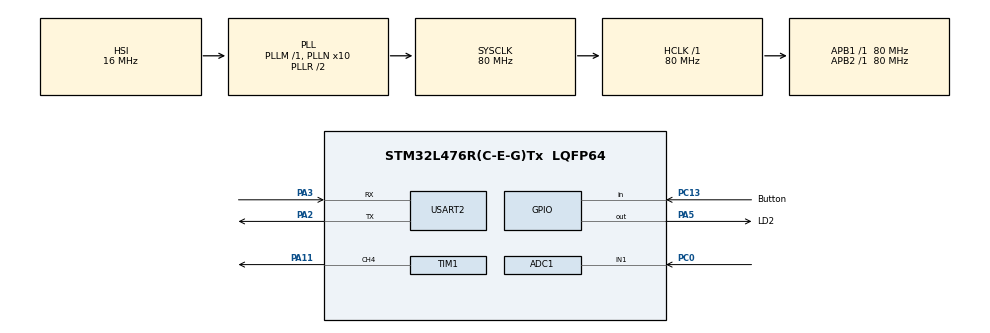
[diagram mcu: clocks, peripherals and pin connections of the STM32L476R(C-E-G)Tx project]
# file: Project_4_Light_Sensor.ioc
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ADC1.Channel-1\#ChannelRegularConversion=ADC_CHANNEL_1
ADC1.ContinuousConvMode=ENABLE
ADC1.NbrOfConversionFlag=1
ADC1.OffsetNumber-1\#ChannelRegularConversion=ADC_OFFSET_NONE
ADC1.Overrun=ADC_OVR_DATA_OVERWRITTEN
ADC1.Rank-1\#ChannelRegularConversion=1
ADC1.SamplingTime-1\#ChannelRegularConversion=ADC_SAMPLETIME_2CYCLES_5
ADC1.master=1
Mcu.Family=STM32L4
Mcu.Name=STM32L476R(C-E-G)Tx
Mcu.Package=LQFP64
NVIC.PriorityGroup=NVIC_PRIORITYGROUP_4
PA11.Signal=S_TIM1_CH4
PA2.Mode=Asynchronous
PA2.Signal=USART2_TX
PA3.Mode=Asynchronous
PA3.Signal=USART2_RX
PA5.GPIO_Label=LD2
PA5.Signal=GPIO_Output
PC0.Signal=ADCx_IN1
PC13.GPIO_Label=Button
PC13.Signal=GPIO_Input
ProjectManager.HeapSize=0x200
ProjectManager.StackSize=0x400
ProjectManager.TargetToolchain=STM32CubeIDE
RCC.ADCFreq_Value=32000000
RCC.AHBFreq_Value=80000000
RCC.APB1Freq_Value=80000000
RCC.APB1TimFreq_Value=80000000
RCC.APB2Freq_Value=80000000
RCC.APB2TimFreq_Value=80000000
RCC.CortexFreq_Value=80000000
RCC.HCLKFreq_Value=80000000
RCC.HSE_VALUE=8000000
RCC.HSI_VALUE=16000000
RCC.LSE_VALUE=32768
RCC.MSI_VALUE=4000000
RCC.PLLN=10
RCC.PLLSAI1R=RCC_PLLR_DIV4
RCC.PLLSourceVirtual=RCC_PLLSOURCE_HSI
RCC.PREFETCH_ENABLE=1
RCC.SYSCLKFreq_VALUE=80000000
RCC.SYSCLKSource=RCC_SYSCLKSOURCE_PLLCLK
RCC.USBFreq_Value=64000000
RCC.VCOOutputFreq_Value=160000000
SH.ADCx_IN1.0=ADC1_IN1,IN1-Single-Ended
SH.S_TIM1_CH4.0=TIM1_CH4,PWM Generation4 CH4
TIM1.Channel-PWM\ Generation4\ CH4=TIM_CHANNEL_4
TIM1.Period=9999
TIM1.Prescaler=79
TIM1.Pulse-PWM\ Generation4\ CH4=0
USART2.VirtualMode-Asynchronous=VM_ASYNC
VP_DAC1_VS_DACI1.Mode=DAC_OUT1_Int
board=NUCLEO-L476RG

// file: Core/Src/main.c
/* USER CODE BEGIN Header */
/**
  ******************************************************************************
  * @file           : main.c
  * @brief          : Main program body
  ******************************************************************************
  * @attention
  *
  * Copyright (c) 2024 STMicroelectronics.
  * All rights reserved.
  *
  * This software is licensed under terms that can be found in the LICENSE file
  * in the root directory of this software component.
  * If no LICENSE file comes with this software, it is provided AS-IS.
  *
  ******************************************************************************
  */
/* USER CODE END Header */
#include "main.h"

/* USER CODE BEGIN Includes */
#include<stdio.h>
/* USER CODE END Includes */

ADC_HandleTypeDef hadc1;

DAC_HandleTypeDef hdac1;

TIM_HandleTypeDef htim1;

UART_HandleTypeDef huart2;

void SystemClock_Config(void);
static void MX_GPIO_Init(void);
static void MX_ADC1_Init(void);
static void MX_USART2_UART_Init(void);
static void MX_DAC1_Init(void);
static void MX_TIM1_Init(void);

/* USER CODE BEGIN 0 */
int __io_putchar(int ch)
{
  if (ch == '\n') {
    __io_putchar('\r');
  }

  HAL_UART_Transmit(&huart2, (uint8_t*)&ch, 1, HAL_MAX_DELAY);

  return 1;
}
/* USER CODE END 0 */

int main(void)
{

  /* MCU Configuration--------------------------------------------------------*/

  /* Reset of all peripherals, Initializes the Flash interface and the Systick. */
  HAL_Init();

  /* Configure the system clock */
  SystemClock_Config();

  /* Initialize all configured peripherals */
  MX_GPIO_Init();
  MX_ADC1_Init();
  MX_USART2_UART_Init();
  MX_DAC1_Init();
  MX_TIM1_Init();
  /* USER CODE BEGIN 2 */
  HAL_ADCEx_Calibration_Start(&hadc1, ADC_SINGLE_ENDED);
  HAL_ADC_Start(&hadc1);

  HAL_TIM_Base_Start_IT(&htim1);
  HAL_TIM_PWM_Start(&htim1, TIM_CHANNEL_4);
  /* USER CODE END 2 */

  /* Infinite loop */
  /* USER CODE BEGIN WHILE */
  while (1)

  {

	  HAL_ADC_Start(&hadc1);
	  HAL_ADC_PollForConversion(&hadc1, HAL_MAX_DELAY);

	  uint32_t value = HAL_ADC_GetValue(&hadc1);
	  float voltage = 3.3f * value / 4096.0f;

	  printf("ADC = %lu (%.3f V)\n", value, voltage);
	  HAL_Delay(250);

	  int pulse = 4 * value;
	  __HAL_TIM_SET_COMPARE(&htim1, TIM_CHANNEL_4, pulse);
	  //HAL_Delay(10);
    /* USER CODE END WHILE */

  }
}

void SystemClock_Config(void)
{
  RCC_OscInitTypeDef RCC_OscInitStruct = {0};
  RCC_ClkInitTypeDef RCC_ClkInitStruct = {0};

  /** Configure the main internal regulator output voltage
  */
  if (HAL_PWREx_ControlVoltageScaling(PWR_REGULATOR_VOLTAGE_SCALE1) != HAL_OK)
  {
    Error_Handler();
  }

  /** Initializes the RCC Oscillators according to the specified parameters
  * in the RCC_OscInitTypeDef structure.
  */
  RCC_OscInitStruct.OscillatorType = RCC_OSCILLATORTYPE_HSI;
  RCC_OscInitStruct.HSIState = RCC_HSI_ON;
  RCC_OscInitStruct.HSICalibrationValue = RCC_HSICALIBRATION_DEFAULT;
  RCC_OscInitStruct.PLL.PLLState = RCC_PLL_ON;
  RCC_OscInitStruct.PLL.PLLSource = RCC_PLLSOURCE_HSI;
  RCC_OscInitStruct.PLL.PLLM = 1;
  RCC_OscInitStruct.PLL.PLLN = 10;
  RCC_OscInitStruct.PLL.PLLP = RCC_PLLP_DIV7;
  RCC_OscInitStruct.PLL.PLLQ = RCC_PLLQ_DIV2;
  RCC_OscInitStruct.PLL.PLLR = RCC_PLLR_DIV2;
  if (HAL_RCC_OscConfig(&RCC_OscInitStruct) != HAL_OK)
  {
    Error_Handler();
  }

  /** Initializes the CPU, AHB and APB buses clocks
  */
  RCC_ClkInitStruct.ClockType = RCC_CLOCKTYPE_HCLK|RCC_CLOCKTYPE_SYSCLK
                              |RCC_CLOCKTYPE_PCLK1|RCC_CLOCKTYPE_PCLK2;
  RCC_ClkInitStruct.SYSCLKSource = RCC_SYSCLKSOURCE_PLLCLK;
  RCC_ClkInitStruct.AHBCLKDivider = RCC_SYSCLK_DIV1;
  RCC_ClkInitStruct.APB1CLKDivider = RCC_HCLK_DIV1;
  RCC_ClkInitStruct.APB2CLKDivider = RCC_HCLK_DIV1;

  if (HAL_RCC_ClockConfig(&RCC_ClkInitStruct, FLASH_LATENCY_4) != HAL_OK)
  {
    Error_Handler();
  }
}

static void MX_ADC1_Init(void)
{

  ADC_MultiModeTypeDef multimode = {0};
  ADC_ChannelConfTypeDef sConfig = {0};

  /** Common config
  */
  hadc1.Instance = ADC1;
  hadc1.Init.ClockPrescaler = ADC_CLOCK_ASYNC_DIV1;
  hadc1.Init.Resolution = ADC_RESOLUTION_12B;
  hadc1.Init.DataAlign = ADC_DATAALIGN_RIGHT;
  hadc1.Init.ScanConvMode = ADC_SCAN_DISABLE;
  hadc1.Init.EOCSelection = ADC_EOC_SINGLE_CONV;
  hadc1.Init.LowPowerAutoWait = DISABLE;
  hadc1.Init.ContinuousConvMode = ENABLE;
  hadc1.Init.NbrOfConversion = 1;
  hadc1.Init.DiscontinuousConvMode = DISABLE;
  hadc1.Init.ExternalTrigConv = ADC_SOFTWARE_START;
  hadc1.Init.ExternalTrigConvEdge = ADC_EXTERNALTRIGCONVEDGE_NONE;
  hadc1.Init.DMAContinuousRequests = DISABLE;
  hadc1.Init.Overrun = ADC_OVR_DATA_OVERWRITTEN;
  hadc1.Init.OversamplingMode = DISABLE;
  if (HAL_ADC_Init(&hadc1) != HAL_OK)
  {
    Error_Handler();
  }

  /** Configure the ADC multi-mode
  */
  multimode.Mode = ADC_MODE_INDEPENDENT;
  if (HAL_ADCEx_MultiModeConfigChannel(&hadc1, &multimode) != HAL_OK)
  {
    Error_Handler();
  }

  /** Configure Regular Channel
  */
  sConfig.Channel = ADC_CHANNEL_1;
  sConfig.Rank = ADC_REGULAR_RANK_1;
  sConfig.SamplingTime = ADC_SAMPLETIME_2CYCLES_5;
  sConfig.SingleDiff = ADC_SINGLE_ENDED;
  sConfig.OffsetNumber = ADC_OFFSET_NONE;
  sConfig.Offset = 0;
  if (HAL_ADC_ConfigChannel(&hadc1, &sConfig) != HAL_OK)
  {
    Error_Handler();
  }

}

static void MX_DAC1_Init(void)
{

  DAC_ChannelConfTypeDef sConfig = {0};

  /** DAC Initialization
  */
  hdac1.Instance = DAC1;
  if (HAL_DAC_Init(&hdac1) != HAL_OK)
  {
    Error_Handler();
  }

  /** DAC channel OUT1 config
  */
  sConfig.DAC_SampleAndHold = DAC_SAMPLEANDHOLD_DISABLE;
  sConfig.DAC_Trigger = DAC_TRIGGER_NONE;
  sConfig.DAC_OutputBuffer = DAC_OUTPUTBUFFER_DISABLE;
  sConfig.DAC_ConnectOnChipPeripheral = DAC_CHIPCONNECT_ENABLE;
  sConfig.DAC_UserTrimming = DAC_TRIMMING_FACTORY;
  if (HAL_DAC_ConfigChannel(&hdac1, &sConfig, DAC_CHANNEL_1) != HAL_OK)
  {
    Error_Handler();
  }

}

static void MX_TIM1_Init(void)
{

  TIM_MasterConfigTypeDef sMasterConfig = {0};
  TIM_OC_InitTypeDef sConfigOC = {0};
  TIM_BreakDeadTimeConfigTypeDef sBreakDeadTimeConfig = {0};

  htim1.Instance = TIM1;
  htim1.Init.Prescaler = 79;
  htim1.Init.CounterMode = TIM_COUNTERMODE_UP;
  htim1.Init.Period = 9999;
  htim1.Init.ClockDivision = TIM_CLOCKDIVISION_DIV1;
  htim1.Init.RepetitionCounter = 0;
  htim1.Init.AutoReloadPreload = TIM_AUTORELOAD_PRELOAD_DISABLE;
  if (HAL_TIM_PWM_Init(&htim1) != HAL_OK)
  {
    Error_Handler();
  }
  sMasterConfig.MasterOutputTrigger = TIM_TRGO_RESET;
  sMasterConfig.MasterOutputTrigger2 = TIM_TRGO2_RESET;
  sMasterConfig.MasterSlaveMode = TIM_MASTERSLAVEMODE_DISABLE;
  if (HAL_TIMEx_MasterConfigSynchronization(&htim1, &sMasterConfig) != HAL_OK)
  {
    Error_Handler();
  }
  sConfigOC.OCMode = TIM_OCMODE_PWM1;
  sConfigOC.Pulse = 0;
  sConfigOC.OCPolarity = TIM_OCPOLARITY_HIGH;
  sConfigOC.OCFastMode = TIM_OCFAST_DISABLE;
  sConfigOC.OCIdleState = TIM_OCIDLESTATE_RESET;
  sConfigOC.OCNIdleState = TIM_OCNIDLESTATE_RESET;
  if (HAL_TIM_PWM_ConfigChannel(&htim1, &sConfigOC, TIM_CHANNEL_4) != HAL_OK)
  {
    Error_Handler();
  }
  sBreakDeadTimeConfig.OffStateRunMode = TIM_OSSR_DISABLE;
  sBreakDeadTimeConfig.OffStateIDLEMode = TIM_OSSI_DISABLE;
  sBreakDeadTimeConfig.LockLevel = TIM_LOCKLEVEL_OFF;
  sBreakDeadTimeConfig.DeadTime = 0;
  sBreakDeadTimeConfig.BreakState = TIM_BREAK_DISABLE;
  sBreakDeadTimeConfig.BreakPolarity = TIM_BREAKPOLARITY_HIGH;
  sBreakDeadTimeConfig.BreakFilter = 0;
  sBreakDeadTimeConfig.Break2State = TIM_BREAK2_DISABLE;
  sBreakDeadTimeConfig.Break2Polarity = TIM_BREAK2POLARITY_HIGH;
  sBreakDeadTimeConfig.Break2Filter = 0;
  sBreakDeadTimeConfig.AutomaticOutput = TIM_AUTOMATICOUTPUT_DISABLE;
  if (HAL_TIMEx_ConfigBreakDeadTime(&htim1, &sBreakDeadTimeConfig) != HAL_OK)
  {
    Error_Handler();
  }
  HAL_TIM_MspPostInit(&htim1);

}

static void MX_USART2_UART_Init(void)
{

  huart2.Instance = USART2;
  huart2.Init.BaudRate = 115200;
  huart2.Init.WordLength = UART_WORDLENGTH_8B;
  huart2.Init.StopBits = UART_STOPBITS_1;
  huart2.Init.Parity = UART_PARITY_NONE;
  huart2.Init.Mode = UART_MODE_TX_RX;
  huart2.Init.HwFlowCtl = UART_HWCONTROL_NONE;
  huart2.Init.OverSampling = UART_OVERSAMPLING_16;
  huart2.Init.OneBitSampling = UART_ONE_BIT_SAMPLE_DISABLE;
  huart2.AdvancedInit.AdvFeatureInit = UART_ADVFEATURE_NO_INIT;
  if (HAL_UART_Init(&huart2) != HAL_OK)
  {
    Error_Handler();
  }

}

static void MX_GPIO_Init(void)
{
  GPIO_InitTypeDef GPIO_InitStruct = {0};

  /* GPIO Ports Clock Enable */
  __HAL_RCC_GPIOC_CLK_ENABLE();
  __HAL_RCC_GPIOA_CLK_ENABLE();

  /*Configure GPIO pin Output Level */
  HAL_GPIO_WritePin(LD2_GPIO_Port, LD2_Pin, GPIO_PIN_RESET);

  /*Configure GPIO pin : Button_Pin */
  GPIO_InitStruct.Pin = Button_Pin;
  GPIO_InitStruct.Mode = GPIO_MODE_INPUT;
  GPIO_InitStruct.Pull = GPIO_NOPULL;
  HAL_GPIO_Init(Button_GPIO_Port, &GPIO_InitStruct);

  /*Configure GPIO pin : LD2_Pin */
  GPIO_InitStruct.Pin = LD2_Pin;
  GPIO_InitStruct.Mode = GPIO_MODE_OUTPUT_PP;
  GPIO_InitStruct.Pull = GPIO_NOPULL;
  GPIO_InitStruct.Speed = GPIO_SPEED_FREQ_LOW;
  HAL_GPIO_Init(LD2_GPIO_Port, &GPIO_InitStruct);

}

void Error_Handler(void)
{
  __disable_irq();
  while (1)
  {
  }
}
